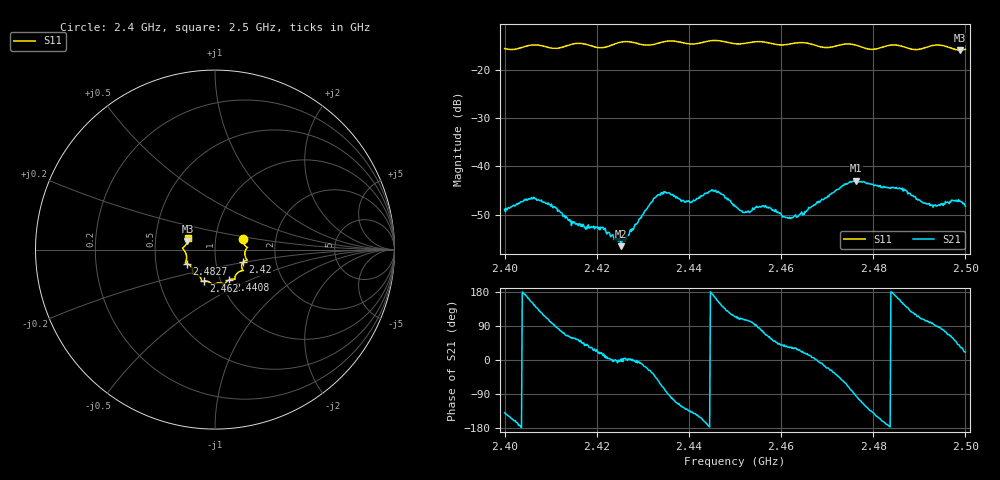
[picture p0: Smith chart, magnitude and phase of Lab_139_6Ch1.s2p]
# Hz S RI R 50
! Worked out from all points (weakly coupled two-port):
!   601 points, 2.4 GHz to 2.5 GHz, reference 50 ohm
!   highest |S21| = -42.92 dB at 2.4763 GHz (marker M1); lowest = -56.5 dB at 2.4253 GHz (marker M2)
!   lowest |S11| = -15.9 dB at 2.4988 GHz (marker M3), VSWR 1.38, Z = 36.5 + j3.41 ohm
!   |S11| at or under -10 dB: start of sweep to end of sweep
!   S12 and S22 are empty: the file has one direction only
!   S11 on the Smith chart (normalised r, x): 2.4 GHz: 1.35, +0.17; 2.42 GHz: 1.36, -0.19; 2.4408 GHz: 1.10, -0.38; 2.462 GHz: 0.83, -0.30; 2.4827 GHz: 0.72, -0.12; 2.5 GHz: 0.73, +0.09
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2.4e9  0.1548 0.0616  -0.00273 -0.00235  0 0  0 0
2.406333e9  0.1814 0.0125  -0.00393 0.00277  0 0  0 0
2.411167e9  0.166 -0.0203  0.000162 0.0037  0 0  0 0
2.416667e9  0.1785 -0.0587  0.00176 0.00178  0 0  0 0
2.42e9  0.1567 -0.069  0.00207 0.00108  0 0  0 0
2.425333e9  0.1567 -0.1153  0.00149 -9.05e-05  0 0  0 0
2.433333e9  0.1117 -0.1526  0.00298 -0.00413  0 0  0 0
2.435333e9  0.1114 -0.1648  0.000168 -0.00532  0 0  0 0
2.440833e9  0.078 -0.1685  -0.0033 -0.00287  0 0  0 0
2.445333e9  0.0533 -0.1946  -0.00557 0.000999  0 0  0 0
2.45e9  0.027 -0.185  -0.00158 0.00353  0 0  0 0
2.452167e9  0.00479 -0.1886  -0.000929 0.00321  0 0  0 0
2.456333e9  -0.0145 -0.1942  0.00119 0.0036  0 0  0 0
2.462e9  -0.0624 -0.175  0.0024 0.00159  0 0  0 0
2.466667e9  -0.0761 -0.1683  0.00384 0.000434  0 0  0 0
2.476333e9  -0.125 -0.1295  -0.000708 -0.00711  0 0  0 0
2.482667e9  -0.1582 -0.0779  -0.00594 -0.00135  0 0  0 0
2.483333e9  -0.1621 -0.0767  -0.006 -0.000683  0 0  0 0
2.486833e9  -0.1607 -0.0621  -0.00458 0.00329  0 0  0 0
2.492833e9  -0.1789 0.00376  -0.000527 0.00394  0 0  0 0
2.498833e9  -0.1537 0.0455  0.00358 0.00254  0 0  0 0
2.5e9  -0.151 0.063  0.00361 0.00138  0 0  0 0
